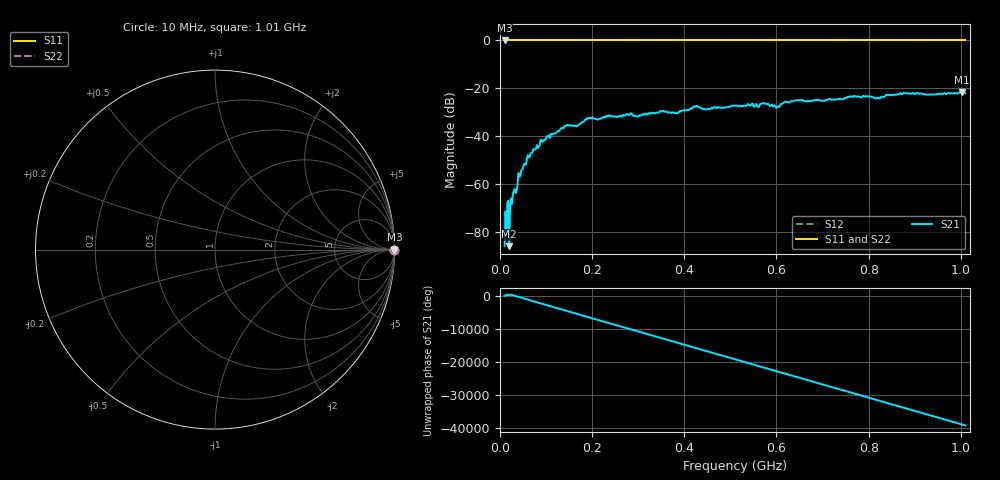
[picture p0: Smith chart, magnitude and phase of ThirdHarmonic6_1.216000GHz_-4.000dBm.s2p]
! 8/16/2025 12:42:43 PM
! C:\ANRITSUVNA\TEMP\TEMP.S2P
! CHANNEL.1
! TR.MEASUREMENT
! RAW.DATA
! RF.CORRECTION.OFF
! AVERAGING.OFF
! IF.BANDWIDTH: 5KHZ
! SWEEPTYPE:  FREQ.SWEEP(Linear)
! Reference Plane Port Info
! PORT:  PORT1  PORT2
! DISTANCE:  0  m  0  m
! TIME:  0  s  0  s
! PHASE.OFFSET:  0  deg.  0  deg.
! LOSS:  0  dB  0  dB
! REF.LOSS:  0  dB  0  dB
! REF.FREQ:  0  Hz  0  Hz
! Power Info
! POWER:  -20  dBm  -20  dBm
! EFF.POWER:  -20  dBm  -20  dBm
! SOURCE.ATTEN:  0  dB  0  dB
! TEST.ATTEN:  0  dB  0  dB
# GHZ S RI R 50.0
! FREQ.GHZ  S11RE  S11IM  S21RE  S21IM  S12RE  S12IM  S22RE  S22IM
!; PortSelection: Port_12
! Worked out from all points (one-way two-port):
!   501 points, 10 MHz to 1.01 GHz, reference 50 ohm
!   highest |S21| = -21.56 dB at 1.002 GHz (marker M1); lowest = -85.8 dB at 20 MHz (marker M2)
!   lowest |S11| = 0.0 dB at 10 MHz (marker M3)
!   |S11| at or under -10 dB: nowhere
!   |S22| runs from 0.0 to 0.0 dB; largest |S21 - S12| = 1.1
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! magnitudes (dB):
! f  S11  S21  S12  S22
! 10 MHz  0.0  -85.6  0.0  0.0
! 14 MHz  0.0  -80.7  0.0  0.0
! 18 MHz  0.0  -66.9  0.0  0.0
! 20 MHz  0.0  -85.8  0.0  0.0
! 24 MHz  0.0  -65.9  0.0  0.0
! 26 MHz  0.0  -68.2  0.0  0.0
! 44 MHz  0.0  -56.6  0.0  0.0
! 70 MHz  0.0  -46.8  0.0  0.0
! 92 MHz  0.0  -42.3  0.0  0.0
! 136 MHz  0.0  -36.4  0.0  0.0
! 178 MHz  0.0  -34.1  0.0  0.0
! 192 MHz  0.0  -32.4  0.0  0.0
! 344 MHz  0.0  -30.1  0.0  0.0
! 424 MHz  0.0  -27.6  0.0  0.0
! 510 MHz  0.0  -27.2  0.0  0.0
! 572 MHz  0.0  -26.2  0.0  0.0
! 602 MHz  0.0  -27.6  0.0  0.0
! 620 MHz  0.0  -25.6  0.0  0.0
! 678 MHz  0.0  -25.0  0.0  0.0
! 844 MHz  0.0  -22.8  0.0  0.0
! 1.002 GHz  0.0  -21.6  0.0  0.0
! 1.01 GHz  0.0  -22.0  0.0  0.0
